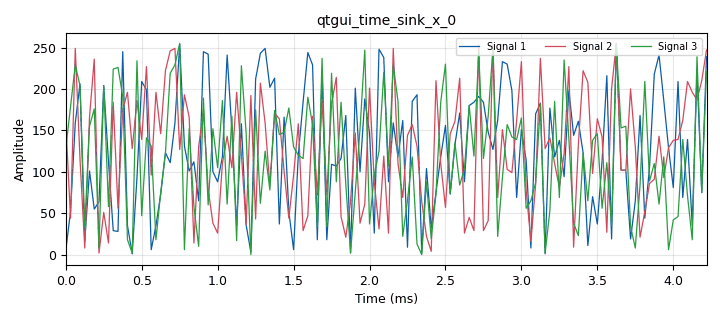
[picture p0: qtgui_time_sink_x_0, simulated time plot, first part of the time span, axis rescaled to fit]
options:
  parameters:
    author: Devansh_104
    generate_options: qt_gui
    id: gfsk1
    output_language: python
    title: GFSK
  states: {}

blocks:
- name: delay
  id: variable_qtgui_range
  parameters:
    comment: 0,0,1,1
    label: Delay
    start: '0'
    step: '1'
    stop: '100'
    value: '0'
    widget: eng
  states: {}
- name: samp_rate
  id: variable
  parameters:
    value: '32000'
  states: {}
- name: analog_random_source_x_0
  id: analog_random_source_x
  parameters:
    max: '256'
    min: '0'
    num_samps: '100000'
    repeat: 'True'
    type: byte
  states: {}
- name: blocks_delay_0
  id: blocks_delay
  parameters:
    delay: '0'
    type: float
  states: {}
- name: blocks_pack_k_bits_bb_0
  id: blocks_pack_k_bits_bb
  parameters:
    k: '8'
  states: {}
- name: blocks_repack_bits_bb_0
  id: blocks_repack_bits_bb
  parameters:
    endianness: gr.GR_LSB_FIRST
    k: '1'
    l: '8'
  states: {}
- name: blocks_uchar_to_float_0
  id: blocks_uchar_to_float
  parameters: {}
  states: {}
- name: blocks_uchar_to_float_1
  id: blocks_uchar_to_float
  parameters: {}
  states: {}
- name: blocks_uchar_to_float_1_0
  id: blocks_uchar_to_float
  parameters: {}
  states: {}
- name: digital_gfsk_demod_0
  id: digital_gfsk_demod
  parameters:
    freq_error: '0.0'
    gain_mu: '0.175'
    mu: '0.5'
    omega_relative_limit: '0.005'
    samples_per_symbol: '10'
    sensitivity: '1.0'
  states: {}
- name: digital_gfsk_mod_0
  id: digital_gfsk_mod
  parameters:
    bt: '0.3'
    samples_per_symbol: '10'
    sensitivity: '1.0'
  states: {}
- name: import_1
  id: import
  parameters:
    imports: import math
  states: {}
- name: qtgui_time_sink_x_0
  id: qtgui_time_sink_x
  parameters:
    nconnections: '3'
    size: '1024'
    srate: samp_rate
    type: float
  states: {}

connections:
- [analog_random_source_x_0, '0', blocks_uchar_to_float_1_0, '0']
- [analog_random_source_x_0, '0', digital_gfsk_mod_0, '0']
- [blocks_delay_0, '0', qtgui_time_sink_x_0, '2']
- [blocks_pack_k_bits_bb_0, '0', blocks_uchar_to_float_1, '0']
- [blocks_repack_bits_bb_0, '0', blocks_uchar_to_float_0, '0']
- [blocks_uchar_to_float_0, '0', qtgui_time_sink_x_0, '0']
- [blocks_uchar_to_float_1, '0', qtgui_time_sink_x_0, '1']
- [blocks_uchar_to_float_1_0, '0', blocks_delay_0, '0']
- [digital_gfsk_demod_0, '0', blocks_pack_k_bits_bb_0, '0']
- [digital_gfsk_demod_0, '0', blocks_repack_bits_bb_0, '0']
- [digital_gfsk_mod_0, '0', digital_gfsk_demod_0, '0']

metadata:
  file_format: 1
  grc_version: 3.10.10.0
